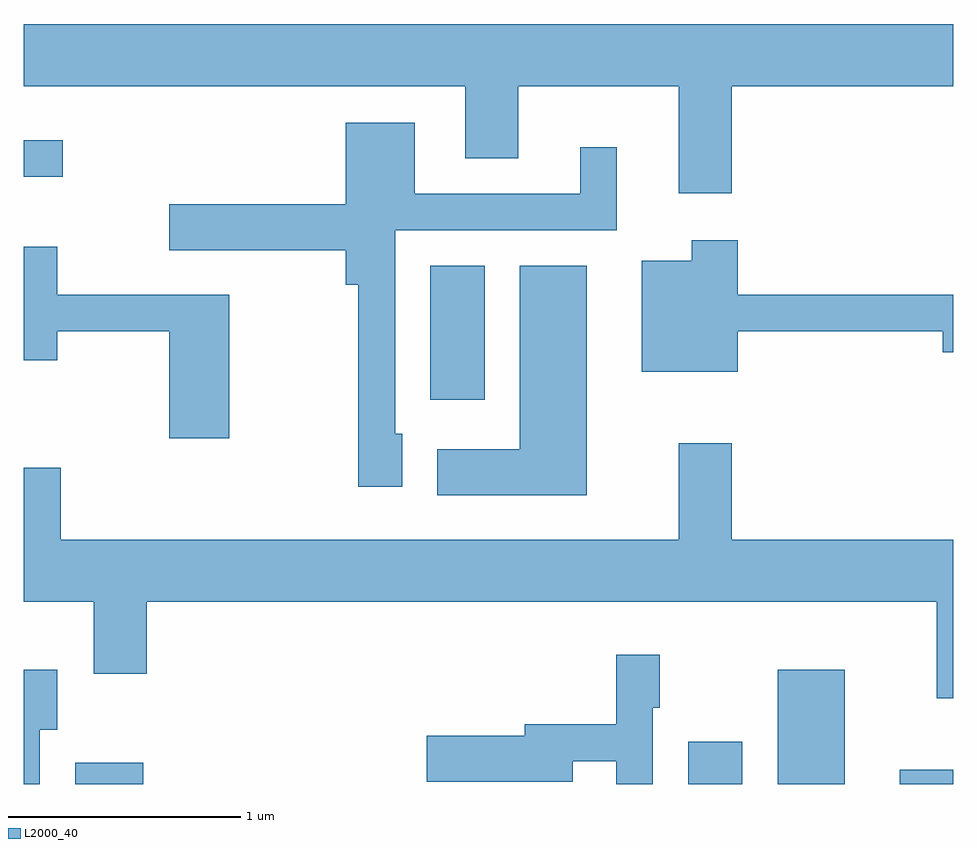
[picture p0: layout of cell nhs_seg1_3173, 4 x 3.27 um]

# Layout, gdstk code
import gdstk
lib = gdstk.Library(unit=1e-6, precision=1e-09)
def R(c, l, rs):  # rectangles x0, y0, x1, y1
    for r in rs: c.add(gdstk.rectangle(r[:2], r[2:], *l))
def P(c, l, *ps):  # polygons
    for p in ps: c.add(gdstk.Polygon(p, *l))
L2000_40 = (2000, 40)

nhs_seg1_3173 = lib.new_cell('nhs_seg1_3173')
R(nhs_seg1_3173, L2000_40, [(281.831,867.712,282.124,867.804), (284.471,867.712,284.704,867.894), (284.856,867.712,285.144,868.204), (285.381,867.712,285.611,867.774), (283.361,869.366,283.594,869.944), (281.611,870.326,281.778,870.484)])
P(nhs_seg1_3173, L2000_40, [(284.659,870.716),(285.611,870.716),(285.611,870.984),(281.611,870.984),(281.611,870.716),(283.511,870.716),(283.511,870.406),(283.739,870.406),(283.739,870.716),(284.431,870.716),(284.431,870.256),(284.659,870.256)],
  [(283.239,869.219),(283.209,869.219),(283.209,870.096),(284.164,870.096),(284.164,870.453),(284.006,870.453),(284.006,870.254),(283.294,870.254),(283.294,870.559),(282.996,870.559),(282.996,870.209),(282.236,870.209),(282.236,870.011),(282.996,870.011),(282.996,869.861),(283.051,869.861),(283.051,868.991),(283.239,868.991)],
  [(284.684,869.661),(285.566,869.661),(285.566,869.571),(285.611,869.571),(285.611,869.819),(284.684,869.819),(284.684,870.054),(284.486,870.054),(284.486,869.964),(284.271,869.964),(284.271,869.486),(284.684,869.486)],
  [(282.494,869.819),(281.754,869.819),(281.754,870.024),(281.611,870.024),(281.611,869.536),(281.754,869.536),(281.754,869.661),(282.236,869.661),(282.236,869.201),(282.494,869.201)],
  [(284.034,869.944),(283.746,869.944),(283.746,869.154),(283.391,869.154),(283.391,868.956),(284.034,868.956)],
  [(285.611,868.764),(284.659,868.764),(284.659,869.179),(284.431,869.179),(284.431,868.764),(281.769,868.764),(281.769,869.074),(281.611,869.074),(281.611,868.496),(281.911,868.496),(281.911,868.186),(282.139,868.186),(282.139,868.496),(285.541,868.496),(285.541,868.081),(285.611,868.081)],
  [(284.319,868.041),(284.349,868.041),(284.349,868.269),(284.161,868.269),(284.161,867.969),(283.766,867.969),(283.766,867.919),(283.346,867.919),(283.346,867.721),(283.974,867.721),(283.974,867.811),(284.161,867.811),(284.161,867.712),(284.319,867.712)],
  [(281.679,867.946),(281.754,867.946),(281.754,868.204),(281.611,868.204),(281.611,867.712),(281.679,867.712)])

lib.write_gds('nhs_seg1_3173.gds')
